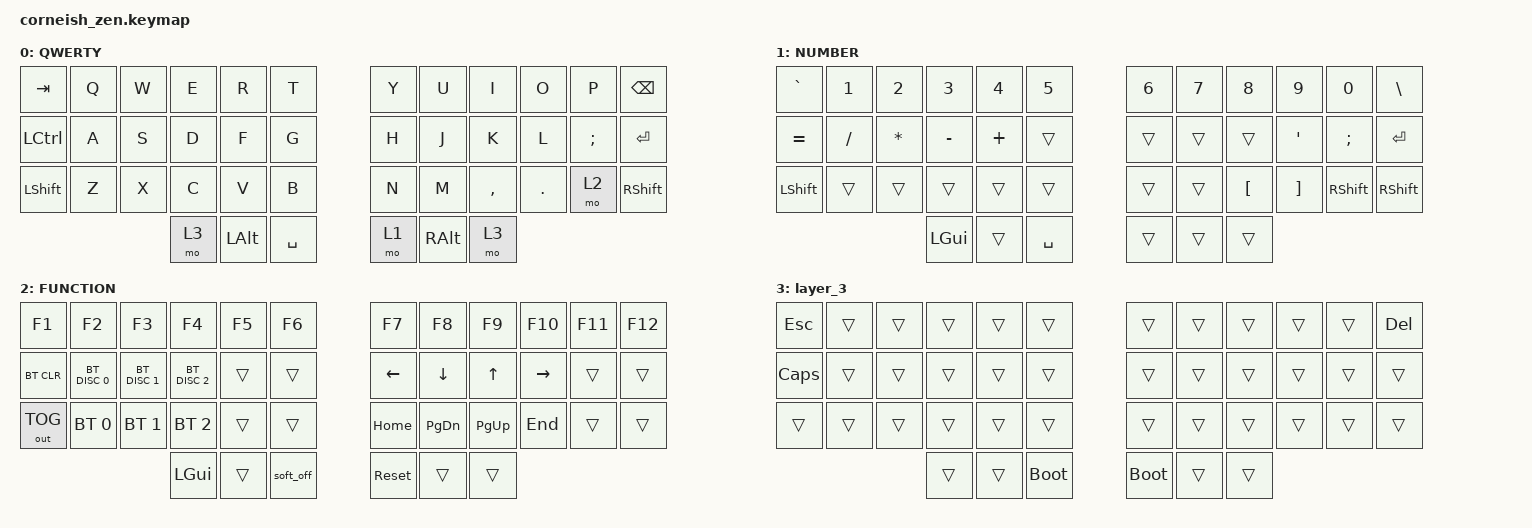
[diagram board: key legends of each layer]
#include <behaviors.dtsi>
#include <dt-bindings/zmk/bt.h>
#include <dt-bindings/zmk/keys.h>
#include <dt-bindings/zmk/outputs.h>

/ {
    chosen {
        zmk,matrix_transform = &default_transform;

        //zmk,matrix_transform = &five_column_transform;
    };
};

/ {
    keymap {
        compatible = "zmk,keymap";

        default_layer {
            label = "QWERTY";

            // -----------------------------------------------------------------------------------------
            // |  TAB |  Q  |  W  |  E  |  R  |  T  |   |  Y  |  U   |  I  |  O  |  P  | BKSP |
            // | CTRL |  A  |  S  |  D  |  F  |  G  |   |  H  |  J   |  K  |  L  |  ;  |  '   |
            // | SHFT |  Z  |  X  |  C  |  V  |  B  |   |  N  |  M   |  ,  |  .  |  /  | ESC  |
            //                    | GUI | LWR | SPC |   | ENT | RSE  | ALT |

            bindings = <
&kp TAB    &kp Q  &kp W  &kp E  &kp R     &kp T        &kp Y  &kp U     &kp I      &kp O    &kp P     &kp BSPC
&kp LCTRL  &kp A  &kp S  &kp D  &kp F     &kp G        &kp H  &kp J     &kp K      &kp L    &kp SEMI  &kp ENTER
&kp LSHFT  &kp Z  &kp X  &kp C  &kp V     &kp B        &kp N  &kp M     &kp COMMA  &kp DOT  &mo 2     &kp RSHFT
                         &mo 3  &kp LALT  &kp SPACE    &mo 1  &kp RALT  &mo 3
            >;
        };

        layer_1 {
            label = "NUMBER";

            // -----------------------------------------------------------------------------------------
            // |  TAB |  1  |  2  |  3  |  4  |  5  |   |  6  |  7  |  8  |  9  |  0  | BKSP |
            // | BTCLR| BT1 | BT2 | BT3 | BT4 | BT5 |   | LFT | DWN |  UP | RGT |     |      |
            // | SHFT |     |     |     |     |     |   |     |     |     |     |     |      |
            //                    | GUI |     | SPC |   | ENT |     | ALT |

            bindings = <
&kp GRAVE  &kp N1     &kp N2        &kp N3     &kp N4    &kp N5       &kp N6  &kp N7  &kp N8            &kp N9             &kp N0     &kp BACKSLASH
&kp EQUAL  &kp SLASH  &kp ASTERISK  &kp MINUS  &kp PLUS  &trans       &trans  &trans  &trans            &kp SINGLE_QUOTE   &kp SEMI   &kp ENTER
&kp LSHFT  &trans     &trans        &trans     &trans    &trans       &trans  &trans  &kp LEFT_BRACKET  &kp RIGHT_BRACKET  &kp RSHFT  &kp RSHFT
                                    &kp LGUI   &trans    &kp SPACE    &trans  &trans  &trans
            >;
        };

        layer_2 {
            label = "FUNCTION";

            // -----------------------------------------------------------------------------------------
            // |  TAB |  !  |  @  |  #  |  $  |  %  |   |  ^  |  &  |  *  |  (  |  )  | BKSP |
            // | CTRL |     |     |     |     |     |   |  -  |  =  |  [  |  ]  |  \  |  `   |
            // | SHFT |     |     |     |     |     |   |  _  |  +  |  {  |  }  | "|" |  ~   |
            //                    | GUI |     | SPC |   | ENT |     | ALT |

            bindings = <
&kp F1        &kp F2         &kp F3         &kp F4         &kp F5  &kp F6       &kp F7      &kp F8     &kp F9     &kp F10    &kp F11  &kp F12
&bt BT_CLR    &bt BT_DISC 0  &bt BT_DISC 1  &bt BT_DISC 2  &trans  &trans       &kp LEFT    &kp DOWN   &kp UP     &kp RIGHT  &trans   &trans
&out OUT_TOG  &bt BT_SEL 0   &bt BT_SEL 1   &bt BT_SEL 2   &trans  &trans       &kp HOME    &kp PG_DN  &kp PG_UP  &kp END    &trans   &trans
                                            &kp LGUI       &trans  &soft_off    &sys_reset  &trans     &trans
            >;
        };

        layer_3 {
            bindings = <
&kp ESC   &trans  &trans  &trans  &trans  &trans         &trans       &trans  &trans  &trans  &trans  &kp DEL
&kp CAPS  &trans  &trans  &trans  &trans  &trans         &trans       &trans  &trans  &trans  &trans  &trans
&trans    &trans  &trans  &trans  &trans  &trans         &trans       &trans  &trans  &trans  &trans  &trans
                          &trans  &trans  &bootloader    &bootloader  &trans  &trans
            >;
        };
    };
};
